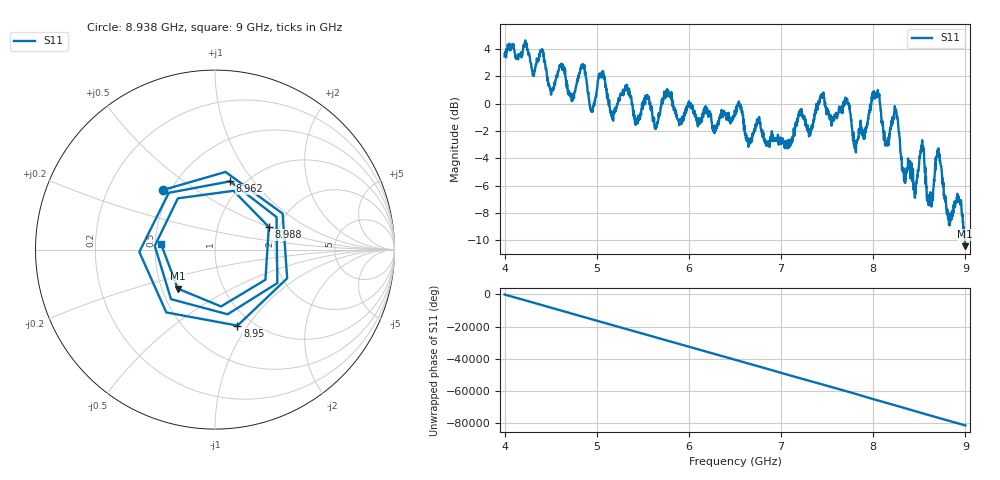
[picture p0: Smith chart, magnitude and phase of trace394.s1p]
! Created with skrf 1.8.0 (http://scikit-rf.org).
# Hz S RI R 50.0
!freq ReS11 ImS11
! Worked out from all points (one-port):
!   1601 points, 4 GHz to 9 GHz, reference 50 ohm
!   lowest |S11| = -10.4 dB at 8.997 GHz (marker M1), VSWR 1.86, Z = 30.2 - j14.4 ohm
!   |S11| at or under -10 dB: 8.994365 GHz to end of sweep
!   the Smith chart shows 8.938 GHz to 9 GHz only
!   S11 on the Smith chart (normalised r, x): 8.938 GHz: 0.45, +0.37; 8.95 GHz: 0.85, -0.90; 8.962 GHz: 0.86, +0.77; 8.988 GHz: 1.77, +0.50; 9 GHz: 0.54, +0.04
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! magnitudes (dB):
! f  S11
! 4 GHz  3.5
! 4.625 GHz  2.8
! 4.728 GHz  0.2
! 4.85 GHz  2.9
! 4.947 GHz  -0.4
! 5.044 GHz  2.2
! 5.25 GHz  0.3
! 5.875 GHz  -1.1
! 6.5 GHz  -0.7
! 7.125 GHz  -2.5
! 7.444 GHz  0.4
! 7.75 GHz  -0.7
! 7.816 GHz  -2.8
! 8.044 GHz  0.8
! 8.134 GHz  -2.9
! 8.244 GHz  -0.4
! 8.375 GHz  -4.8
! 8.459 GHz  -6.6
! 8.528 GHz  -3.1
! 8.622 GHz  -7.5
! 8.703 GHz  -3.3
! 8.822 GHz  -8.9
! 8.938 GHz  -7.1
! 8.95 GHz  -7.1
! 8.962 GHz  -8.2
! 8.988 GHz  -9.8
! 8.997 GHz  -10.4
! 9 GHz  -10.4
